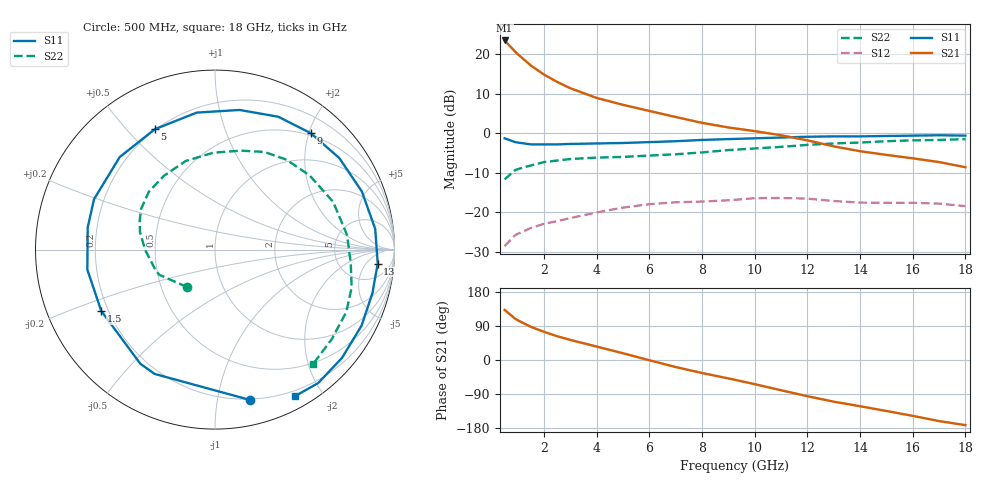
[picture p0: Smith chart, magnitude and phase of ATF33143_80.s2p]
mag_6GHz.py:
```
import numpy as np
import scipy
import skrf as rf
import matplotlib.pyplot as plt
from ABCD_Shunt_OC_Stub import ABCD_Shunt_OC_Stub
from ABCD_Shunt_SC_Stub import ABCD_Shunt_SC_Stub
from ABCD_to_S import ABCD_to_S
from ABCD_TRL import ABCD_TRL
from S_Param_Interp import S_Param_Interp
from S_to_ABCD import S_to_ABCD

#------Srinivas Nittala------
# *Maximum Gain Amplifier using ATF-33143 PHEMT @ 6GHz*

G = 10**9
Meg = 10**6
k = 10**3
c = 10**-2
C = 3e8      #Speed of Light
m = 10**-3
u = 10**-6
n = 10**-9
p = 10**-12
IFigure = 0
NF = 32
#---------------------------------
Z0 = 50
ZT = 50
f_min = 5.5*G
f0 = 6*G
f_max = 6.5*G
df = 5*Meg;
theta_p = 90
#---------------------------------
network = rf.Network("ATF33143_80.s2p")

freq = network.f
S = network.s

#---------------------------------

mag_S11 = 0.77
ang_S11 = 97.6

mag_S12 = 0.126
ang_S12 = -6.9

mag_S21 = 1.91
ang_S21 = -0.7

mag_S22 = 0.52
ang_S22 = 108.3

#"The 6GHz S-parameters were extracted from the official ATF-33143 low noise PHEMT data sheet."
S11 = (mag_S11*np.cos(np.deg2rad(ang_S11)))+1j*(mag_S11*np.sin(np.deg2rad(ang_S11)))
S12 = (mag_S12*np.cos(np.deg2rad(ang_S12)))+1j*(mag_S12*np.sin(np.deg2rad(ang_S12)))
S21 = (mag_S21*np.cos(np.deg2rad(ang_S21)))+1j*(mag_S21*np.sin(np.deg2rad(ang_S21)))
S22 = (mag_S22*np.cos(np.deg2rad(ang_S22)))+1j*(mag_S22*np.sin(np.deg2rad(ang_S22)))
#---Stability Analysis---
dl = (S11*S22) - (S12*S21)
mag_dl = np.abs(dl)
ang_dl = np.angle(dl, deg=True)
K = (1-(mag_S11)**2-(mag_S22)**2+(mag_dl)**2)/(2*(mag_S12*mag_S21))
#---Key Calculations---
B1 = 1+(mag_S11)**2-(mag_S22)**2-(mag_dl)**2
C1 = S11 - (dl)*np.conj(S22)
mag_C1 = np.abs(C1)
ang_C1 = np.angle(C1, deg = True)
B2 = 1+(mag_S22)**2-(mag_S11)**2-(mag_dl)**2
C2 = S22 - (dl)*np.conj(S11)
mag_C2 = np.abs(C2)
ang_C2 = np.angle(C2, deg = True)
#---Reflection Coeffcients---
#---Source Reflection Coeffcient---
Gamma_S1 = (B1 + (np.sqrt((B1)**2-(4*(mag_C1)**2))))/(2*C1)
mag_Gamma_S1 = np.abs(Gamma_S1)
ang_Gamma_S1 = np.angle(Gamma_S1, deg = True)

Gamma_S2 = (B1 - (np.sqrt((B1)**2-(4*(mag_C1)**2))))/(2*C1)
mag_Gamma_S2 = np.abs(Gamma_S2)
ang_Gamma_S2 = np.angle(Gamma_S2, deg = True)
if abs(Gamma_S1) < 1:
    Gamma_S = Gamma_S1
else:
    Gamma_S = Gamma_S2  
#---Load Reflection Coeffcient---
Gamma_L1 = (B2 + (np.sqrt((B2)**2-(4*(mag_C2)**2))))/(2*C2)
mag_Gamma_L1 = np.abs(Gamma_L1)
ang_Gamma_L1 = np.angle(Gamma_L1, deg = True)

Gamma_L2 = (B2 - (np.sqrt((B2)**2-(4*(mag_C2)**2))))/(2*C2)
mag_Gamma_L2 = np.abs(Gamma_L2)
ang_Gamma_L2 = np.angle(Gamma_L2, deg = True)
if abs(Gamma_L1) < 1:
    Gamma_L = Gamma_L1
else:
    Gamma_L = Gamma_L2
#---Input Reflection Coeffcient---
Gamma_IN = (S11)+((S12*S21*Gamma_L)/(1-S22*Gamma_L))
mag_Gamma_IN = np.abs(Gamma_IN)
ang_Gamma_IN = np.angle(Gamma_IN, deg = True)
#---Output Reflection Coeffcient---
Gamma_OUT = (S22)+((S12*S21*Gamma_S)/(1-S11*Gamma_S))
mag_Gamma_OUT = np.abs(Gamma_OUT)
ang_Gamma_OUT = np.angle(Gamma_OUT, deg = True)
#---Gain Calculation---
MAG = ((mag_S21/mag_S12)*(K-(np.sqrt(K**2-1))))
MAG_dB = 10*np.log10(MAG)
X = ((1-(mag_Gamma_S2)**2)*((mag_S21)**2)*(1-(mag_Gamma_L2)**2))
A = 1 - S11*Gamma_S
B = 1 - S22*Gamma_L
C = S21*S12*Gamma_S*Gamma_L
Y = (A*B - C)**2
Z = np.abs(Y)
Gt = X/Z
Gt_dB = 10*np.log10(Gt)
#---Matching Networks---
#---IMN---
Gamma_IMN = np.abs(Gamma_IN-np.conj(Gamma_S))/np.abs(1-(Gamma_IN)*(Gamma_S))
VSWR_IMN = (1+Gamma_IMN)/(1-Gamma_IMN)
ML_IMN  = 1-(np.abs(Gamma_IMN))**2
ML_IMN_dB = 10*np.log10(ML_IMN)
#---OMN---
Gamma_OMN = np.abs(Gamma_OUT-np.conj(Gamma_L))/np.abs(1-(Gamma_OUT)*(Gamma_L))
VSWR_OMN = (1+Gamma_OMN)/(1-Gamma_OMN)
ML_OMN  = 1-(np.abs(Gamma_OMN))**2
ML_OMN_dB = 10*np.log10(ML_OMN)
#---IMN DESIGN---
dI2_lambda = 0.3491
theta_I2 = 360*dI2_lambda
theta_I2_2 = theta_I2*2
dI1_lambda = 0.0541
theta_I1 = 360*dI1_lambda
theta_I1_2 = theta_I1*2
#---OMN DESIGN---
dO2_lambda = 0.0694
theta_O2 = 360*dO2_lambda
theta_O2_2 = theta_O2*2
dO1_lambda = 0.1339
theta_O1 = 360* dO1_lambda
theta_O1_2 = theta_O1*2
#---NETWORK CASCADING---
#---IMN---TRANSISTOR---OMN---
freq_Amp = np.arange(f_min, f_max + df, df) #creates the frequency array.
I_f0_Amp = np.isin(freq_Amp, f0) #checks where f0 exists in the frequency array.
N_Freq = len(freq_Amp) #gives the number of frequency points
S_Amp = np.zeros((N_Freq, 2, 2), dtype=complex) #creates the empty 2×2 S-parameter matrix for every frequency
for kk in range(N_Freq):
 fk = freq_Amp[kk]
 theta_P_fk = (fk/f0)*theta_p
 theta_I1_fk = (fk/f0)*theta_I1
 theta_I2_fk = (fk/f0)*theta_I2
 theta_O1_fx = (fk/f0)*theta_O1
 theta_O2_fx = (fk/f0)*theta_O2
 T0 = ABCD_TRL(Z0, theta_P_fk)
 TI1 = ABCD_Shunt_SC_Stub(Z0, theta_I1_fk)
 TI2 = ABCD_TRL(Z0, theta_I2_fk)
 TO2 = ABCD_TRL(Z0, theta_O2_fx)
 TO1 = ABCD_Shunt_OC_Stub(Z0, theta_O1_fx)
 Sx = S_Param_Interp(S, freq, fk)
 Ts = S_to_ABCD(Sx, Z0)
 T = T0 @ T0 @ TI1 @ TI2 @ Ts @ TO2 @ TO1 @ T0 @ T0
 S_Amp[kk, :, :] = ABCD_to_S(T, [Z0, Z0])
#-----Parameters Extraction-----------------
S11_Amp = S_Amp[:, 0, 0]
S11_Amp_Mag = np.abs(S11_Amp)
S11_Amp_dB = 20 * np.log10(S11_Amp_Mag)

S21_Amp = S_Amp[:, 1, 0]
S21_Amp_Mag = np.abs(S21_Amp)
S21_Amp_dB = 20 * np.log10(S21_Amp_Mag)

S22_Amp = S_Amp[:, 1, 1]
S22_Amp_Mag = np.abs(S22_Amp)
S22_Amp_dB = 20 * np.log10(S22_Amp_Mag)

S12_Amp = S_Amp[:, 0, 1]
S12_Amp_Mag = np.abs(S12_Amp)
S12_Amp_dB = 20 * np.log10(S12_Amp_Mag)
#-------------Graphs---------------
plt.figure()

plt.plot(freq_Amp / G, S21_Amp_dB, linewidth=6)

plt.scatter(f0 / G, MAG_dB, s=100)
plt.annotate(f"{MAG_dB:.4f} dB", (f0 / G, MAG_dB))

plt.xlabel("Frequency (GHz)")
plt.ylabel("S21 (dB)")
plt.title("S21 Maximum gain Amplifier @6GHz")

plt.xlim(5.5, 6.5)
plt.ylim(6, 10.5)

plt.grid(True)
plt.show()
#------------------
plt.figure()

plt.plot(freq_Amp / G, S11_Amp_dB, 'g',  linewidth = 6)

plt.xlabel("Frequency (GHz)")
plt.ylabel("S11 (dB)")
plt.title("S11 Maximum gain Amplifier @6GHz")

plt.xlim(5.5, 6.5)
plt.ylim(-40, 0)

plt.grid(True)
plt.show()
#------------------
plt.figure()

plt.plot(freq_Amp / G, S22_Amp_dB, 'r',  linewidth = 6)

plt.xlabel("Frequency (GHz)")
plt.ylabel("S22 (dB)")
plt.title("S22 Maximum gain Amplifier @6GHz")

plt.xlim(5.5, 6.5)
plt.ylim(-40, 0)

plt.grid(True)
plt.show()
#------------------
plt.figure()

plt.plot(freq_Amp / G, S11_Amp_dB, 'r',  linewidth = 6)
plt.plot(freq_Amp / G, S21_Amp_dB, 'b',  linewidth = 6)
plt.plot(freq_Amp / G, S22_Amp_dB, 'g',  linewidth = 6)
plt.plot(freq_Amp / G, S12_Amp_dB, 'c',  linewidth = 6)

plt.xlabel("Frequency (GHz)")
plt.ylabel("Sji (dB)")
plt.title("Sji Maximum gain Amplifier @6GHz")

plt.xlim(5.5, 6.5)
plt.ylim(-40, 15)

plt.grid(True)
plt.show()


#--------Display values--------
print("Device name: ATF-33413 PHEMT")
print("Center Frequency: 6GHz")
print("-----Part-1-----")
print(f"S11= {S11:.4f}")
print(f"S12= {S12:.4f}")
print(f"S21= {S21:.4f}")
print(f"S22= {S22:.4f}")
#---Stability Analysis---
print("-----Part-2-----")
print(f"dl= {dl:.4f}")
print(f"mag_dl= {mag_dl:.4f}")
print(f"ang_dl= {ang_dl:.4f}")
print(f"K= {K:.4f}")
if mag_dl<1 and K>1:
 print("Stability:Unconditionally Stable")
else:
 print("Stability:Conditionally Stable")
#---Key Calculations---
print("-----Part-3-----")
print(f"B1= {B1:.4f}")
print(f"C1= {C1:.4f}")
print(f"mag_C1= {mag_C1:.4f}")
print(f"ang_C1= {ang_C1:.4f}")
print(f"B2= {B2:.4f}")
print(f"C2= {C2:.4f}")
print(f"mag_C2= {mag_C2:.4f}")
print(f"ang_C2= {ang_C2:.4f}")
#---Reflection Coeffcients---
print("-----Part-4-----")
print("-----Reflection Coeffcients-----")
print("-----Source Reflection Coeffcient-----")
print(f"Gamma_S1= {Gamma_S1:.4f}")
print(f"mag_Gamma_S1= {mag_Gamma_S1:.4f}")
print(f"ang_Gamma_S1= {ang_Gamma_S1:.4f}")
print("-----------------")
print(f"Gamma_S2= {Gamma_S2:.4f}")
print(f"mag_Gamma_S2= {mag_Gamma_S2:.4f}")
print(f"ang_Gamma_S2= {ang_Gamma_S2:.4f}")
print(f"Gamma_S = {np.abs(Gamma_S):.4f} ∠ {np.angle(Gamma_S, deg = True):.4f}°")

print("-----Load Reflection Coeffcient-----")
print(f"Gamma_L1= {Gamma_L1:.4f}")
print(f"mag_Gamma_L1= {mag_Gamma_L1:.4f}")
print(f"ang_Gamma_L1= {ang_Gamma_L1:.4f}")
print("-----------------")
print(f"Gamma_L2= {Gamma_L2:.4f}")
print(f"mag_Gamma_L2= {mag_Gamma_L2:.4f}")
print(f"ang_Gamma_L2= {ang_Gamma_L2:.4f}")
print(f"Gamma_L = {np.abs(Gamma_L):.4f} ∠ {np.angle(Gamma_L, deg = True):.4f}°")
print("-----Input Reflection Coeffcient-----")
print(f"Gamma_IN= {Gamma_IN:.4f}")
print(f"mag_Gamma_IN= {mag_Gamma_IN:.4f}")
print(f"ang_Gamma_IN= {ang_Gamma_IN:.4f}")
print(f"Gamma_IN_Polar = {np.abs(Gamma_IN):.4f} ∠ {np.angle(Gamma_IN, deg = True):.4f}°")
print("-----Output Reflection Coeffcient-----")
print(f"Gamma_OUT= {Gamma_OUT:.4f}")
print(f"mag_Gamma_OUT= {mag_Gamma_OUT:.4f}")
print(f"ang_Gamma_OUT= {ang_Gamma_OUT:.4f}")
print(f"Gamma_OUT_Polar = {np.abs(Gamma_OUT):.4f} ∠ {np.angle(Gamma_OUT, deg = True):.4f}°")
if np.isclose(Gamma_IN, np.conj(Gamma_S)) and np.isclose(Gamma_OUT, np.conj(Gamma_L)):
    print("Matching Condition: Maximum gain achieved.")
else:
    print("Matching Condition: Maximum gain not achieved.")
print("-----Part-5-----")
print("-----Gain Calculation-----")
print(f"MAG= {MAG:.4f} W/W")
print(f"MAG_dB= {MAG_dB:.4f} dB")
print(f"X= {X:.4f}")
print(f"A= {A:.4f}")
print(f"B= {B:.4f}")
print(f"C= {C:.4f}")
print(f"Y= {Y:.4f}")
print(f"Z= {Z:.4f}")
print(f"Gt= {Gt:.4f}W/W")
print(f"Gt_dB= {Gt_dB:.4f}dB")
if np.isclose(MAG_dB, Gt_dB) and np.isclose(MAG, Gt):
    print("Maximum Gain condition verified!")
else:
    print("Check the Matching condition!")
print("-----Part-6-----")
print("-----Matching Networks-----")
print("-----IMN-----")
print(f"Gamma_IMN= {Gamma_IMN:.4f}")
print(f"VSWR_IMN= {VSWR_IMN:.4f}")
print(f"ML_IMN= {ML_IMN:.4f} W/W")
print(f"ML_IMN_dB= {ML_IMN_dB:.4f} dB")
print("-----OMN-----")
print(f"Gamma_OMN= {Gamma_OMN:.4f}")
print(f"VSWR_OMN= {VSWR_OMN:.4f}")
print(f"ML_OMN= {ML_OMN:.4f} W/W")
print(f"ML_OMN_dB= {ML_OMN_dB:.4f} dB")
print("-----IMN Design-----")
print(f"theta_I2= {theta_I2:.4f}°")
print(f"theta_I2_2= {theta_I2_2:.4f}°")
print(f"theta_I1= {theta_I1:.4f}°")
print(f"theta_I1_2= {theta_I1_2:.4f}°")
print("-----OMN Design-----")
print(f"theta_O2= {theta_O2:.4f}°")
print(f"theta_O2_2= {theta_O2_2:.4f}°")
print(f"theta_O1= {theta_O1:.4f}°")
print(f"theta_O1_2= {theta_O1_2:.4f}°")
```
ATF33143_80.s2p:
! FILENAME:  ATF33143_80.S2P  VERSION: 14.1
! BIAS CONDITIONS: Vds = 4.000 V, Id = 80.000 mA
! Calibration  : K-TRL
# GHZ S MA R 50
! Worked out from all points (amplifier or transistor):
!   22 points, 500 MHz to 18 GHz, reference 50 ohm
!   highest |S21| = 23.5 dB at 500 MHz (marker M1)
!   |S21| within 3 dB of that: start of sweep to 925.3 MHz
!   unconditionally stable (mu >= 1): 3.611 GHz to end of sweep
!   at 1.5 GHz: K = 0.70, MSG = 20.6 dB, |S12| = -24.0 dB
!   at 8 GHz: K = 1.11, MAG = 7.9 dB, |S12| = -17.3 dB
!   at 18 GHz: K = 1.19, MAG = 2.3 dB, |S12| = -18.5 dB
!   lowest NFmin = 0.30 dB at 500 MHz
!   S11 on the Smith chart (normalised r, x): 500 MHz: 0.19, -1.24; 1.5 GHz: 0.17, -0.25; 5 GHz: 0.20, +0.60; 9 GHz: 0.46, +2.04; 13 GHz: 12, -11; 18 GHz: 0.14, -1.68
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0.5  0.86 -76.9  14.93 132.1  0.037 55.4  0.26 -126.6
0.9  0.77 -115.9  10.77 109.1  0.051 43.9  0.34 -155.5
1.5  0.72 -151.7  7.18 87.4  0.063 36.0  0.39 -180.0
2  0.72 -171.1  5.51 74.3  0.071 32.1  0.43 166.6
3  0.73 157.4  3.7 52.9  0.084 24.6  0.47 151.2
5  0.75 116.6  2.28 17.7  0.114 5.7  0.5 124.7
7  0.79 80.0  1.6 -18.6  0.133 -20.6  0.54 91.0
9  0.84 50.5  1.18 -48.6  0.141 -42.1  0.61 63.1
10  0.86 36.4  1.06 -63.7  0.15 -54.0  0.64 51.5
13  0.91 -4.9  0.68 -110.0  0.138 -92.0  0.74 6.4
18  0.93 -61.3  0.37 -171.9  0.119 -142.9  0.84 -49.5
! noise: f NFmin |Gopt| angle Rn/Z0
0.5  0.3  0.4  28.2  0.08
0.9  0.35  0.31  44.1  0.07
1  0.36  0.3  47.4  0.07
2  0.46  0.22  117  0.05
2.5  0.52  0.26  157.7  0.04
4  0.69  0.39  -157.2  0.044
5  0.8  0.46  -132.4  0.07
7  1.02  0.57  -88.8  0.25
8  1.12  0.63  -70.5  0.42
10  1.32  0.76  -40.4  0.83
